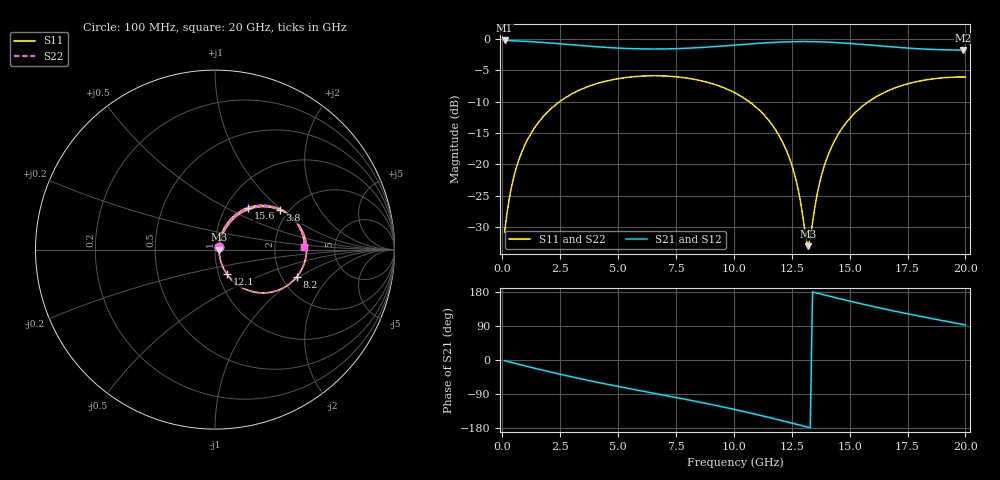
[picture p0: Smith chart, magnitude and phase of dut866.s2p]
! Touchstone file exported from HFSS 2026.1.0
!  File:  C:/ffzhzh/LocalFiles/Ansys_Project_Files/temp_train_TSV_RDL_866_1783271508_39728.aedt
!  Generated:  01:22:29 AM Jul  6, 2026
!  Design:  TSV_RDL
!  Project:  temp_train_TSV_RDL_866_1783271508_39728
! Variables:
!  h_bsmrdl = 2.31um
!  h_ox = 20um
!  h_rdl = 5um
!  h_sub = 66.71um
!  h_tmrdl = 2.75um
!  h_tsv = 66.71um
!  h_via = 3um
!  l_bsmrdl = 556.38um
!  l_sub = 4646.68um
!  l_tmrdl = 605.22um
!  m_sub = 200um
!  pitch = 49.88um
!  r_tsv = 5.89um
!  s_tmrdl = 10um
!  w_bsmrdl = 27.11um
!  w_sub = 500um
!  w_tmrdl = 25.11um
!  x_tsv_center1 = 617.775um
!  x_tsv_center2 = 1201.265um
!  x_tsv_center3 = 1831.595um
!  x_tsv_center4 = 2415.085um
!  x_tsv_center5 = 3045.415um
!  x_tsv_center6 = 3628.905um
# GHz S MA R 50.000000
! Terminal data exported
! Port[1] = TM_RDL1_1_T1
! Port[2] = TM_RDL5_1_T1
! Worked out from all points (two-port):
!   200 points, 100 MHz to 20 GHz, reference 50 ohm
!   highest |S21| = -0.21 dB at 100 MHz (marker M1); lowest = -1.7 dB at 19.9 GHz (marker M2)
!   |S21| within 3 dB of the highest: start of sweep to end of sweep
!   lowest |S11| = -33.0 dB at 13.2 GHz (marker M3), VSWR 1.05, Z = 52.3 - j0.076 ohm
!   |S11| at or under -10 dB: start of sweep to 2.467 GHz; 10.67 GHz to 15.8 GHz (5.136 GHz wide, 38.8 % of centre)
!   |S22| runs from -33.0 to -5.8 dB; largest |S21 - S12| = 3.9e-14
!   S11 on the Smith chart (normalised r, x): 100 MHz: 1.05, +0.03; 3.8 GHz: 1.80, +0.97; 8.2 GHz: 2.42, -0.95; 12.1 GHz: 1.10, -0.31; 15.6 GHz: 1.26, +0.65; 20 GHz: 2.98, +0.10
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0.1  0.0289 32.1  0.9758 -1.7  0.9758 -1.7  0.0289 32.1
! Gamma 0 0 0 0
! Port Impedance 50 0 50 0
0.3  0.05327 55.9  0.9729 -4.9  0.9729 -4.9  0.05327 55.9
0.5  0.08005 61.7  0.9695 -8.0  0.9695 -8.0  0.08005 61.7
1.1  0.1591 61.9  0.9575 -17.2  0.9575 -17.2  0.1591 61.9
2.1  0.2782 51.7  0.9302 -32.0  0.9302 -32.0  0.2782 51.7
3.5  0.4045 34.9  0.8856 -51.1  0.8856 -51.1  0.4045 34.9
3.8  0.4248 31.4  0.8767 -55.0  0.8767 -55.0  0.4248 31.4
6.8  0.5096 -2.5  0.8344 -90.7  0.8344 -90.7  0.5096 -2.5
8.2  0.4813 -18.2  0.8497 -107.2  0.8497 -107.2  0.4813 -18.2
10.1  0.3683 -40.9  0.8982 -131.4  0.8982 -131.4  0.3683 -40.9
11.3  0.249 -55.7  0.9323 -148.3  0.9323 -148.3  0.249 -55.7
12.1  0.1515 -64.1  0.9487 -160.3  0.9487 -160.3  0.1515 -64.0
12.7  0.07323 -63.8  0.955 -169.5  0.955 -169.5  0.07326 -63.7
13.2  0.0223 -1.9  0.9555 -177.3  0.9555 -177.3  0.02249 -1.8
13.4  0.03455 47.8  0.9545 179.6  0.9545 179.6  0.0347 47.5
13.7  0.07091 65.1  0.9516 175.0  0.9516 175.0  0.07101 64.9
14.2  0.1355 66.5  0.9435 167.4  0.9435 167.4  0.1355 66.4
14.8  0.2093 61.1  0.9293 158.4  0.9293 158.4  0.2094 61.1
15.6  0.2964 51.8  0.9056 146.9  0.9056 146.9  0.2965 51.7
16.7  0.3904 38.5  0.8708 132.1  0.8708 132.1  0.3905 38.4
19.9  0.4984 2.5  0.8178 93.7  0.8178 93.7  0.4985 2.5
20  0.4982 1.4  0.8179 92.5  0.8179 92.5  0.4983 1.4
